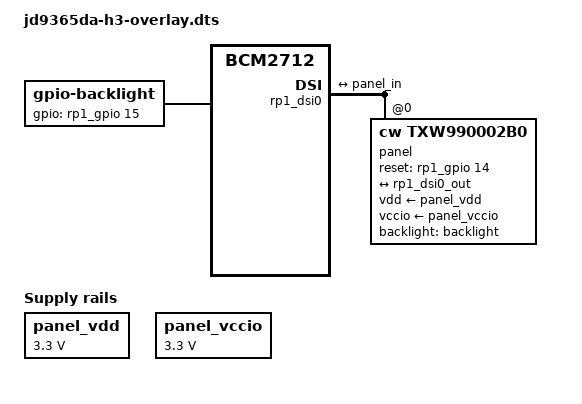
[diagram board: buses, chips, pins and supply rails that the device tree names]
/dts-v1/;
/plugin/;

/*
 * TXW990002B0 panel on Raspberry Pi CM5 / RP1 DSI0
 *
 * Wiring:
 *   - Reset:     GPIO14, active-low
 *   - Backlight: GPIO15, active-high
 *
 * Driver match:
 *   - compatible must include: "cw,txw990002b0"
 */

/{
	compatible = "brcm,bcm2712";

	fragment@0 {
		target-path = "/";
		__overlay__ {
			panel_vdd: regulator-panel-vdd {
				compatible = "regulator-fixed";
				regulator-name = "panel_vdd_3v3";
				regulator-min-microvolt = <3300000>;
				regulator-max-microvolt = <3300000>;
				regulator-always-on;
			};

			panel_vccio: regulator-panel-vccio {
				compatible = "regulator-fixed";
				regulator-name = "panel_vccio";
				regulator-min-microvolt = <3300000>;
				regulator-max-microvolt = <3300000>;
				regulator-always-on;
			};

			backlight: backlight {
				compatible = "gpio-backlight";
				status = "okay";
				gpios = <&rp1_gpio 15 0>;
				default-on;
			};
		};
	};

	fragment@1 {
		target = <&rp1_dsi0>;
		__overlay__ {
			status = "okay";

			#address-cells = <1>;
			#size-cells = <0>;

			ports {
				#address-cells = <1>;
				#size-cells = <0>;

				port@0 {
					reg = <0>;

					rp1_dsi0_out: endpoint {
						remote-endpoint = <&panel_in>;
					};
				};
			};

			panel@0 {
				reg = <0>;
				status = "okay";

				compatible = "cw,txw990002b0";

				vdd-supply = <&panel_vdd>;
				vccio-supply = <&panel_vccio>;

				reset-gpios = <&rp1_gpio 14 0>;

				dsi,lanes = <4>;
				dsi,format = <0>; /* MIPI_DSI_FMT_RGB888 */

				backlight = <&backlight>;

				panel-timing {
					clock-frequency = <78340000>;
					hactive = <720>;
					hfront-porch = <30>;
					hback-porch = <30>;
					hsync-len = <20>;
					vactive = <1600>;
					vfront-porch = <16>;
					vback-porch = <14>;
					vsync-len = <2>;
				};

				port {
					panel_in: endpoint {
						remote-endpoint = <&rp1_dsi0_out>;
					};
				};
			};
		};
	};
};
